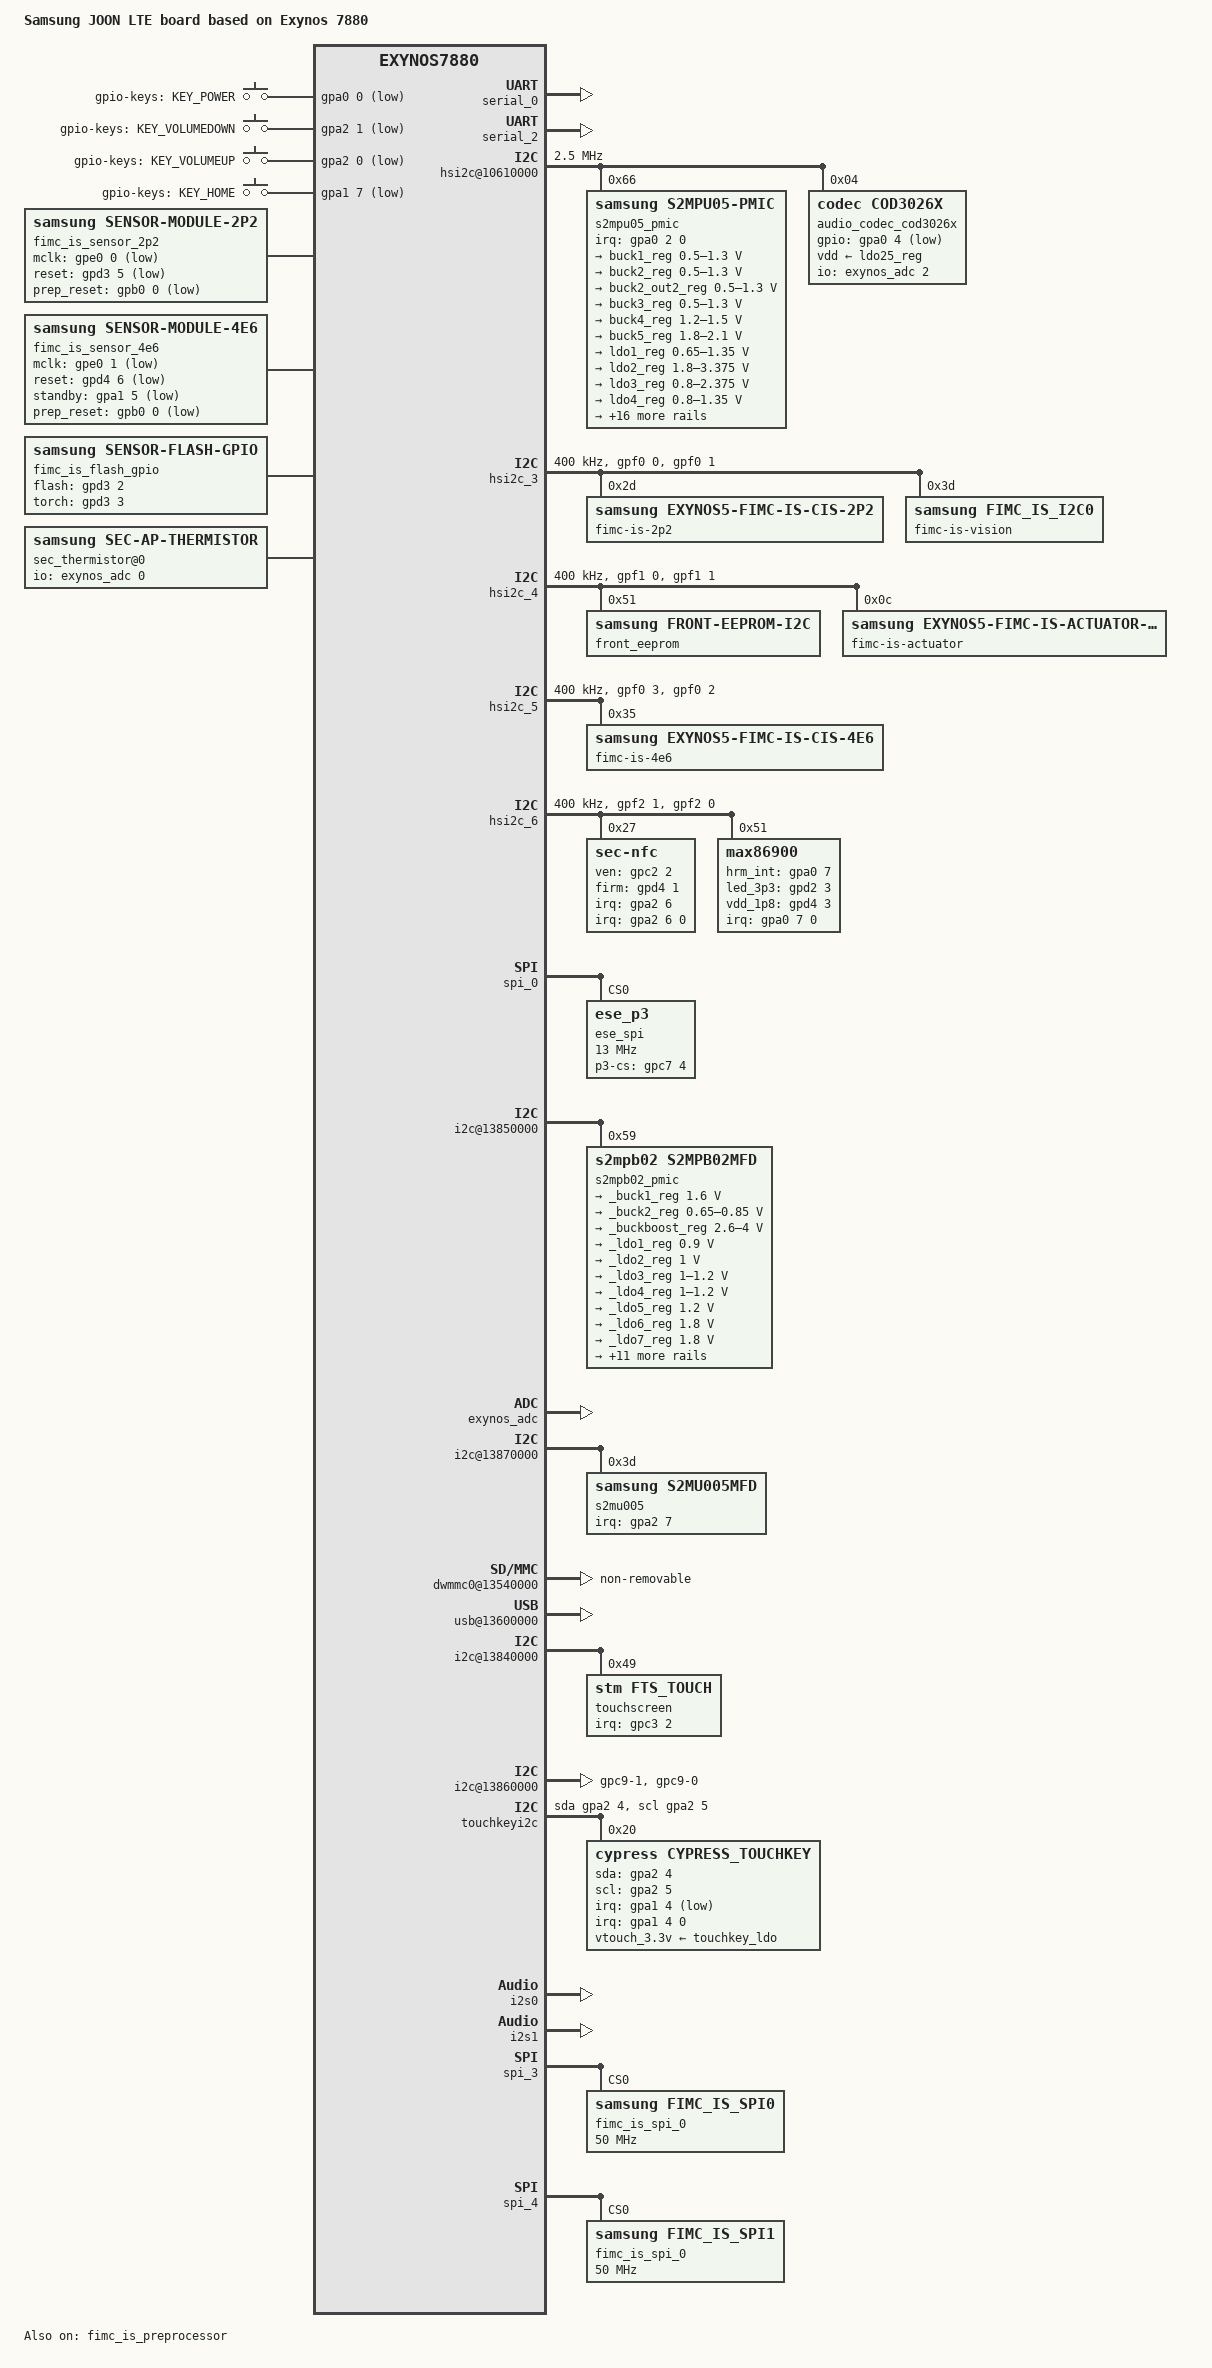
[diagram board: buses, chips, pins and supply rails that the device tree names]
/*
 * SAMSUNG Exynos7880 Universal board device tree source
 *
 * Copyright (c) 2015 Samsung Electronics Co., Ltd.
 *		http://www.samsung.com
 *
 * This program is free software; you can redistribute it and/or modify
 * it under the terms of the GNU General Public License version 2 as
 * published by the Free Software Foundation.
*/

#include "exynos7880.dtsi"
#include "modem-ss325ap-pdata.dtsi"
#include "exynos7880-rmem.dtsi"

/ {
	model = "Samsung JOON LTE board based on Exynos 7880";
	compatible = "samsung,exynos7880", "samsung,universal7880";

	memory@40000000 {
		device_type = "memory";
		reg = <0x0 0x40000000 0x3E400000>;
	};

	memory@80000000 {
		device_type = "memory";
		reg = <0x0 0x80000000 0x80000000>;
	};

	chosen {
		bootargs = "console=ram ess_setup=0x46000000 clk_ignore_unused androidboot.hardware=samsungexynos7880 firmware_class.path=/vendor/firmware reserve-fimc=0 androidboot.debug_level=0x4948 androidboot.selinux=permissive";
		linux,initrd-start = <0x52000000>;
		linux,initrd-end = <0x521FFFFF>;
	};

	fixed-rate-clocks {
		oscclk {
			compatible = "samsung,exynos7880-oscclk";
			clock-frequency = <26000000>;
		};
	};

	serial_0: uart@13810000 {
		status = "okay";
	};

	serial_2: uart@13820000 {
		status = "okay";
	};

	gpio_keys {
		compatible = "gpio-keys";
		pinctrl-names = "default";
		pinctrl-0 = <&key_power &key_voldown &key_volup &key_home>;
		#address-cells = <1>;
		#size-cells = <0>;

		button@1 {
			label = "gpio-keys: KEY_POWER";
			interrupts = <0 0>;
			interrupt-parent = <&gpa0>;
			linux,code = <116>;
			gpios = <&gpa0 0 0xf>;
			gpio-key,wakeup = <1>;
		};
		button@2 {
			label = "gpio-keys: KEY_VOLUMEDOWN";
			interrupts = <1 0>;
			interrupt-parent = <&gpa2>;
			linux,code = <114>;
			gpios = <&gpa2 1 0xf>;
		};
		button@3 {
			label = "gpio-keys: KEY_VOLUMEUP";
			interrupts = <0 0>;
			interrupt-parent = <&gpa2>;
			linux,code = <115>;
			gpios = <&gpa2 0 0xf>;
		};
		button@4 {
			label = "gpio-keys: KEY_HOME";
			interrupts = <7 0 0>;
			interrupt-parent = <&gpa1>;
			linux,code = <172>;
			gpios = <&gpa1 7 0xf>;
			gpio-key,wakeup = <1>;
		};
	};

	pinctrl@139B0000 {
		/* Warm reset information from AP */
		pm_wrsti: pm-wrsti {
			samsung,pins = "gpd1-0";
			samsung,pin-con-pdn = <3>;
		};
	};

	pinctrl@139F0000 {
		pmic_irq: pmic-irq {
			samsung,pins = "gpa0-2";
			samsung,pin-pud = <3>;
			samsung,pin-drv = <3>;
		};

		cod3026_irq: cod3026-irq {
			samsung,pins = "gpa0-4";
			samsung,pin-pud = <3>;
			samsung,pin-drv = <3>;
		};

		hrm_int: hrm_int {
			samsung,pins = "gpa0-7";
			samsung,pin-function = <1>;
			samsung,pin-pud = <0>;
			samsung,pin-val = <0>;
		};

		cfg_wlanhostwake: cfg-wlanhostwake {
			samsung,pins = "gpa2-2";
			samsung,pin-function = <1>;
			samsung,pin-pud = <3>;
		};
	};

	pinctrl@139B0000 {
		sub_pmic_irq: sub-pmic-irq {
			samsung,pins = "gpd4-0";
			samsung,pin-function = <0xf>;
			samsung,pin-pud = <0>;
			samsung,pin-drv = <0>;
		};

		hrm_vdd_io_en: hrm_vdd_io_en {
			samsung,pins = "gpd4-3";
			samsung,pin-function = <1>;
			samsung,pin-pud = <1>;
			samsung,pin-val = <0>;
		};

		hrm_vdd_en: hrm_vdd_en {
			samsung,pins = "gpd2-3";
			samsung,pin-function = <1>;
			samsung,pin-pud = <1>;
			samsung,pin-val = <0>;
		};
	};
	
	but_zones: but_zones {
		#list-but-cells = <3>;
	};

	hsi2c@10610000 {
		status = "okay";
		samsung,hs-mode;
		clock-frequency = <2500000>;
		samsung,hsi2c-batcher;

		s2mpu05_pmic@66 {
			compatible = "samsung,s2mpu05-pmic";
			reg = <0x66>;
			ten-bit-address;
			interrupts = <2 0 0>;
			interrupt-parent = <&gpa0>;
			pinctrl-names = "default";
			pinctrl-0 = <&pmic_irq &pm_wrsti>;
			g3d_en = <1>; /* 1 : enable , 0 : disable */
			buck3en_pin = "etc1-3";
			buck3en_addr = "139B0080.pinctrl";
			/* RTC: wtsr/smpl */
			wtsr_en = <1>; /* enable */
			smpl_en = <1>; /* enable */
			wtsr_timer_val = <3>;   /* 1000ms */
			smpl_timer_val = <4>;   /* 500ms */
			check_jigon = <0>; /* do not check jigon */
			/* RTC: If it's first boot, reset rtc to 1/1/2016 12:00:00(Fri) */
			init_time,sec = <0>;
			init_time,min = <0>;
			init_time,hour = <12>;
			init_time,mday = <1>;
			init_time,mon = <0>;
			init_time,year = <116>;
			init_time,wday = <5>;

			regulators {
				buck1_reg: BUCK1 {
					regulator-name = "BUCK1";
					regulator-min-microvolt = <500000>;
					regulator-max-microvolt = <1300000>;
					regulator-always-on;
					regulator-boot-on;
					regulator-ramp-delay = <12000>;
					regulator-initial-mode = <1>;
					regulator-expected-consumer = <2>;
				};

				buck2_reg: BUCK2 {
					regulator-name = "BUCK2";
					regulator-min-microvolt = <500000>;
					regulator-max-microvolt = <1300000>;
					regulator-always-on;
					regulator-boot-on;
					regulator-ramp-delay = <12000>;
					regulator-initial-mode = <3>;
					regulator-expected-consumer = <4>;
				};

				buck2_out2_reg: BUCK2_OUT2 {
					regulator-name = "BUCK2_OUT2";
					regulator-min-microvolt = <500000>;
					regulator-max-microvolt = <1300000>;
					regulator-always-on;
					regulator-boot-on;
					regulator-ramp-delay = <12000>;
					regulator-initial-mode = <3>;
				};

				buck3_reg: BUCK3 {
					regulator-name = "vdd_g3d";
					regulator-min-microvolt = <500000>;
					regulator-max-microvolt = <1300000>;
					regulator-always-on;
					regulator-boot-on;
					regulator-ramp-delay = <12000>;
					regulator-initial-mode = <2>;		/* MIF_G3D */
				};

				buck4_reg: BUCK4 {
					regulator-name = "BUCK4";
					regulator-min-microvolt = <1200000>;
					regulator-max-microvolt = <1500000>;
					regulator-always-on;
					regulator-boot-on;
					regulator-ramp-delay = <12000>;
					regulator-initial-mode = <3>;
				};

				buck5_reg: BUCK5 {
					regulator-name = "BUCK5";
					regulator-min-microvolt = <1800000>;
					regulator-max-microvolt = <2100000>;
					regulator-always-on;
					regulator-boot-on;
					regulator-ramp-delay = <12000>;
					regulator-initial-mode = <3>;
				};

				ldo1_reg: LDO1 {
					regulator-name = "vdd_ldo1";
					regulator-min-microvolt = <650000>;
					regulator-max-microvolt = <1350000>;
					regulator-always-on;
					regulator-boot-on;
					regulator-ramp-delay = <12000>;
					regulator-initial-mode = <3>;
				};

				ldo2_reg: LDO2 {
					regulator-name = "vqmmc";
					regulator-min-microvolt = <1800000>;
					regulator-max-microvolt = <3375000>;
					regulator-boot-on;
					regulator-always-on;
					regulator-ramp-delay = <12000>;
					regulator-initial-mode = <1>;
				};

				ldo3_reg: LDO3 {
					regulator-name = "vdd_ldo3";
					regulator-min-microvolt = <800000>;
					regulator-max-microvolt = <2375000>;
					regulator-boot-on;
					regulator-always-on;
					regulator-ramp-delay = <12000>;
					regulator-initial-mode = <3>;
				};

				ldo4_reg: LDO4 {
					regulator-name = "vdd_ldo4";
					regulator-min-microvolt = <800000>;
					regulator-max-microvolt = <1350000>;
					regulator-boot-on;
					regulator-always-on;
					regulator-ramp-delay = <12000>;
					regulator-initial-mode = <2>;
				};

				ldo5_reg: LDO5 {
					regulator-name = "vdd_ldo5";
					regulator-min-microvolt = <800000>;
					regulator-max-microvolt = <1350000>;
					regulator-boot-on;
					regulator-always-on;
					regulator-ramp-delay = <12000>;
					regulator-initial-mode = <3>;
				};

				ldo6_reg: LDO6 {
					regulator-name = "vdd_ldo6";
					regulator-min-microvolt = <800000>;
					regulator-max-microvolt = <1350000>;
					regulator-boot-on;
					regulator-always-on;
					regulator-ramp-delay = <12000>;
					regulator-initial-mode = <2>;
				};

				ldo7_reg: LDO7 {
					regulator-name = "vdd_ldo7";
					regulator-min-microvolt = <800000>;
					regulator-max-microvolt = <2375000>;
					regulator-ramp-delay = <12000>;
					regulator-initial-mode = <1>;
				};

				ldo8_reg: LDO8 {
					regulator-name = "vdd_ldo8";
					regulator-min-microvolt = <1800000>;
					regulator-max-microvolt = <3375000>;
					regulator-boot-on;
					regulator-always-on;
					regulator-ramp-delay = <12000>;
					regulator-initial-mode = <1>;
				};

				ldo9_reg: LDO9 {
					regulator-name = "vdd_ldo9";
					regulator-min-microvolt = <650000>;
					regulator-max-microvolt = <1350000>;
					regulator-always-on;
					regulator-ramp-delay = <12000>;
					regulator-initial-mode = <3>;
				};

				ldo10_reg: LDO10 {
					regulator-name = "vdd_ldo10";
					regulator-min-microvolt = <650000>;
					regulator-max-microvolt = <1350000>;
					regulator-always-on;
					regulator-ramp-delay = <12000>;
					/* LDO10 mode 0 value means
					control to PWRRGTON_G3D signal */
					regulator-initial-mode = <0>;
				};

				ldo25_reg: LDO25 {
					regulator-name = "vdd_ldo25";
					regulator-min-microvolt = <800000>;
					regulator-max-microvolt = <2375000>;
					regulator-always-on;
					regulator-boot-on;
					regulator-ramp-delay = <12000>;
					regulator-initial-mode = <1>;
				};

				ldo26_reg: LDO26 {
					regulator-name = "vdd_ldo26";
					regulator-min-microvolt = <1800000>;
					regulator-max-microvolt = <3375000>;
					regulator-ramp-delay = <12000>;
					regulator-always-on;
					regulator-initial-mode = <1>;
				};

				ldo27_reg: LDO27 {
					regulator-name = "vdd_ldo27";
					regulator-min-microvolt = <800000>;
					regulator-max-microvolt = <2375000>;
					regulator-ramp-delay = <12000>;
					regulator-always-on;
					regulator-initial-mode = <1>;
				};

				ldo28_reg: LDO28 {
					regulator-name = "vmmc";
					regulator-min-microvolt = <1800000>;
					regulator-max-microvolt = <3375000>;
					regulator-always-on;
					regulator-ramp-delay = <12000>;
					regulator-initial-mode = <1>;
				};

				ldo29_reg: LDO29 {
					regulator-name = "vdd_ldo29";
					regulator-min-microvolt = <1800000>;
					regulator-max-microvolt = <3375000>;
					regulator-ramp-delay = <12000>;
					regulator-initial-mode = <1>;
				};

				ldo30_reg: LDO30 {
					regulator-name = "tsp_io";
					regulator-min-microvolt = <1800000>;
					regulator-max-microvolt = <2375000>;
					regulator-ramp-delay = <12000>;
					regulator-initial-mode = <3>;
				};

				ldo31_reg: LDO31 {
					regulator-name = "vdd_ldo31";
					regulator-min-microvolt = <2800000>;
					regulator-max-microvolt = <2800000>;
					regulator-boot-on;
					regulator-always-on;
					regulator-ramp-delay = <12000>;
					regulator-initial-mode = <1>;
				};

				ldo32_reg: LDO32 {
					regulator-name = "vdd_ldo32";
					regulator-min-microvolt = <1800000>;
					regulator-max-microvolt = <3375000>;
					regulator-ramp-delay = <12000>;
					regulator-initial-mode = <1>;
				};

				ldo33_reg: LDO33 {
					regulator-name = "vdd_ldo33";
					regulator-min-microvolt = <1800000>;
					regulator-max-microvolt = <1800000>;
					regulator-ramp-delay = <12000>;
					regulator-initial-mode = <1>;
				};

				ldo35_reg: LDO35 {
					regulator-name = "VDD_MOTOR_3P0";
					regulator-min-microvolt = <1800000>;
					regulator-max-microvolt = <3375000>;
					regulator-ramp-delay = <12000>;
					regulator-initial-mode = <1>;
				};
			};
		};

		audio_codec_cod3026x: cod3026x@04 {
			compatible = "codec,cod3026x";
			reg = <0x04>;
			ten-bit-address;
			vdd-supply = <&ldo25_reg>;
			pinctrl-names = "default";
			pinctrl-0 = <&cod3026_irq>;
			interrupt-parent = <&gpa0>;
			gpios = <&gpa0 4 0xf>;
			use-digital-mic-mode;
			mic-bias1-voltage = <1>;
			mic-bias2-voltage = <1>;
			mic-bias-ldo-voltage = <3>;
			use-det-adc-mode;
			io-channels = <&exynos_adc 2>;
			io-channel-names = "adc-jack";
			#io-channel-cells = <1>;
			io-channel-ranges;
			but-zones-list = <&but_zones 226 0 203>, /* send/end */
				<&but_zones 582 204 290>, /* google */
				<&but_zones 115 291 488>, /* vol up */
				<&but_zones 114 489 1000>; /* vol down */
			mic-adc-range = <1350>;
		};
	};

	hsi2c_3: hsi2c@138A0000 {
		 gpios = <&gpf0 0 0 &gpf0 1 0>;
		 status = "okay";
		 clock-frequency = <400000>;

		 pinctrl-names = "default";
		 pinctrl-0 = <&hs_i2c3_bus>;

		 fimc-is-2p2@5A {
			 compatible = "samsung,exynos5-fimc-is-cis-2p2";
			 reg = <0x2D>;
			 id = <0>; /* matching sensor id */
			 setfile = "setB";
		 };

		 fimc-is-vision@3d {
			compatible = "samsung,fimc_is_i2c0";
			reg = <0x3d>;
		 };
	 };

	hsi2c_4: hsi2c@138B0000 {
		 gpios = <&gpf1 0 0 &gpf1 1 0>;
		 status = "okay";
		 clock-frequency = <400000>;

		 pinctrl-names = "default";
		 pinctrl-0 = <&hs_i2c4_bus>;

		 front_eeprom@51 {
			 compatible = "samsung,front-eeprom-i2c";
			 reg = <0x51>;
		 };

		 fimc-is-actuator@18 {
			 compatible = "samsung,exynos5-fimc-is-actuator-ak7371";
			 reg = <0x0C>;
			 id = <0>; /* matching sensor id */
		 };
	};

	hsi2c_5: hsi2c@138C0000 {
		 gpios = <&gpf0 3 0 &gpf0 2 0>;
		 status = "okay";
		 clock-frequency = <400000>;

		 pinctrl-names = "default";
		 pinctrl-0 = <&hs_i2c5_bus>;

		 fimc-is-4e6@6A {
			 compatible = "samsung,exynos5-fimc-is-cis-4e6";
			 reg = <0x35>;
			 id = <0>; /* matching sensor id */
			 setfile = "setB";
		 };
	 };

	hsi2c_6: hsi2c@138F0000 {
		gpios = <&gpf2 1 0 &gpf2 0 0>;
		status = "okay";
		clock-frequency = <400000>;
		sec-nfc@27 {
			compatible = "sec-nfc";
			reg = <0x27>;
			interrupts = <6 0 0>;
			interrupt-parent = <&gpa2>;

			sec-nfc,ven-gpio = <&gpc2 2 0>;
			sec-nfc,firm-gpio = <&gpd4 1 0>;
			sec-nfc,irq-gpio = <&gpa2 6 0>;

			pinctrl-names = "default";
			pinctrl-0 = <&nfc_firm &nfc_pd &nfc_int>;
		};

		max86900@51 {
			compatible = "max86900";
			reg = <0x51>;
			interrupt-parent = <&gpa0>;
			interrupts = <7 0 0>;
			pinctrl-names = "default";
			pinctrl-0 = <&hrm_vdd_en &hrm_int &hrm_vdd_io_en>;
			max86900,hrm_int-gpio = <&gpa0 7 0>;
			max86900,led_3p3-gpio = <&gpd2 3 0>;
			max86900,vdd_1p8-gpio = <&gpd4 3 0>;
		};
	};

	spi_0: spi@13920000 {
		status = "okay";
		/delete-property/ pinctrl-names;
		/delete-property/ pinctrl-0;

		ese_spi@0 {
			compatible = "ese_p3";
			reg = <0>;
			spi-max-frequency = <13000000>;

			gpio-controller;
			#gpio-cells = <2>;

			p3-mosipin = <&gpc6 3 0>;
			p3-misopin = <&gpc6 2 0>;
			p3-clkpin = <&gpc6 0 0>;
			p3-cs_gpio = <&gpc7 4 0>;
			p3-vdd_1p8 = "vdd_ldo33";
			p3-ap_vendor = "slsi";

			clocks = <&clock 191>, <&clock 633>;
			clock-names = "pclk", "sclk";

			pinctrl-names = "ese_active", "ese_suspend";
			pinctrl-0 = <&spi0_bus &ese_cs_func>;
			pinctrl-1 = <&spi0_bus_suspend &ese_cs_func_suspend>;

			controller-data {
				cs-gpio = <&gpc7 4 0>;
				samsung,spi-feedback-delay = <0>;
				samsung,spi-chip-select-mode = <0>; /* MANUAL_CS_MODE  */
			};
		};
	};

	i2c@13850000 {
		status = "okay";
		s2mpb02_pmic@59 {
			compatible = "s2mpb02,s2mpb02mfd";
			reg = <0x59>;

			s2mpb02,wakeup;
			pinctrl-names = "default";
			pinctrl-0 = <&sub_pmic_irq>;

			regulators {
				_buck1_reg: s2mpb02-buck1 {
					regulator-min-microvolt = <1600000>;
					regulator-max-microvolt = <1600000>;
					regulator-always-on;
					regulator-boot-on;
				};

				_buck2_reg: s2mpb02-buck2 {
					regulator-name = "VDDD_CORE_0.8V_COMP";
					regulator-min-microvolt = <650000>;
					regulator-max-microvolt = <850000>;
				};

				_buckboost_reg: s2mpb02-bb {
					regulator-min-microvolt = <2600000>;
					regulator-max-microvolt = <4000000>;
					regulator-always-on;
					regulator-boot-on;
				};

				_ldo1_reg: s2mpb02-ldo1 {
					regulator-name = "VDDD_NORET_0.9V_COMP";
					regulator-min-microvolt = <900000>;
					regulator-max-microvolt = <900000>;
				};

				_ldo2_reg: s2mpb02-ldo2 {
					regulator-name = "VDDD_CORE_1.0V_COMP";
					regulator-min-microvolt = <1000000>;
					regulator-max-microvolt = <1000000>;
				};

				_ldo3_reg: s2mpb02-ldo3 {
					regulator-name = "VDDD_1.2V_CAM";
					regulator-min-microvolt = <1000000>;
					regulator-max-microvolt = <1200000>;
				};

				_ldo4_reg: s2mpb02-ldo4 {
					regulator-name = "VDDD_RET_1.0V_COMP";
					regulator-min-microvolt = <1000000>;
					regulator-max-microvolt = <1200000>;
				};

				_ldo5_reg: s2mpb02-ldo5 {
					regulator-name = "VDDD_1.2V_VT";
					regulator-min-microvolt = <1200000>;
					regulator-max-microvolt = <1200000>;
				};

				_ldo6_reg: s2mpb02-ldo6 {
					regulator-name = "VDDIO_1.8V_VT";
					regulator-min-microvolt = <1800000>;
					regulator-max-microvolt = <1800000>;
				};

				_ldo7_reg: s2mpb02-ldo7 {
					regulator-name = "VDDIO_1.8V_CAM";
					regulator-min-microvolt = <1800000>;
					regulator-max-microvolt = <1800000>;
				};

				_ldo8_reg: s2mpb02-ldo8 {
					regulator-name = "VDDIO_1.8V_COMP";
					regulator-min-microvolt = <1800000>;
					regulator-max-microvolt = <1800000>;
				};

				_ldo9_reg: s2mpb02-ldo9 {
					regulator-name = "VDDA_1.8V_COMP";
					regulator-min-microvolt = <1800000>;
					regulator-max-microvolt = <1800000>;
				};

				_ldo10_reg: s2mpb02-ldo10 {
					regulator-name = "LCD_1P8";
					regulator-min-microvolt = <1800000>;
					regulator-max-microvolt = <1800000>;
					regulator-boot-on;
				};

				_ldo11_reg: s2mpb02-ldo11 {
					regulator-name = "VDDA_2.9V_CAM";
					regulator-min-microvolt = <2800000>;
					regulator-max-microvolt = <2950000>;
				};

				_ldo12_reg: s2mpb02-ldo12 {
					regulator-name = "VDDAF_2.8V_CAM";
					regulator-min-microvolt = <2800000>;
					regulator-max-microvolt = <2800000>;
				};

				_ldo13_reg: s2mpb02-ldo13 {
					regulator-name = "VDDA_2.9V_VT";
					regulator-min-microvolt = <2900000>;
					regulator-max-microvolt = <2900000>;
				};

				_ldo14_reg: s2mpb02-ldo14 {
					regulator-name = "OIS_VM_2.8V";
					regulator-min-microvolt = <2800000>;
					regulator-max-microvolt = <2800000>;
				};

				_ldo15_reg: s2mpb02-ldo15 {
					regulator-name = "OIS_VDD_2.8V";
					regulator-min-microvolt = <2800000>;
					regulator-max-microvolt = <2800000>;
				};

				_ldo16_reg: s2mpb02-ldo16 {
					regulator-name = "LCD_3P0";
					regulator-min-microvolt = <3000000>;
					regulator-max-microvolt = <3000000>;
					regulator-boot-on;
				};

				_ldo17_reg: s2mpb02-ldo17 {
					regulator-min-microvolt = <600000>;
					regulator-max-microvolt = <3775000>;
				};

				_ldo18_reg: s2mpb02-ldo18 {
					regulator-min-microvolt = <600000>;
					regulator-max-microvolt = <3775000>;
					regulator-always-on;
					regulator-boot-on;
				};
			};

			torch {
				torch1-gpio = "gpc0-3";
				flash1-gpio = "gpc0-2";

				status = "okay";

				leds1 {
					ledname = "leds-sec1";
					id = <0>;
					brightness = <0xC>;
					timeout = <0x3>;
				};

				leds2 {
					ledname = "torch-sec1";
					id = <1>;
					brightness = <0xC>;
					timeout = <0xF>;
				};
			};
		};
	};

	pinctrl@139B0000 {
		if_pmic_rstb: if-pmic-rstb {
			samsung,pins = "gpd2-1";
			samsung,pin-function = <1>;
			samsung,pin-pud = <3>;
			samsung,pin-val = <1>;
			samsung,pin-con-pdn = <3>;
			samsung,pin-pud-pdn = <3>;
		};
	};

	exynos_adc: adc@10650000 {
		status = "okay";
	};

	i2c@13870000 {
		status = "okay";
		s2mu005@3d {
			compatible = "samsung,s2mu005mfd";
			reg = <0x3d>;
			pinctrl-names = "default";
			pinctrl-0 = <&if_irq &if_pmic_rstb>;
			s2mu005,irq-gpio = <&gpa2 7 0>;
			s2mu005,wakeup;

			leds {
				flash-gpio = <&gpc0 2 0>;
				torch-gpio = <&gpc0 3 0>;

				flash_current = <1000>;
				preflash_current = <175>;
				movie_current = <175>;
				torch_current = <75>;
				factory_current = <250>;

				status = "okay";
				s2mu005-leds1 {
					ledname = "leds-sec1";
					id = <0>;
					timeout = <15>;
				};

				s2mu005-leds2 {
					ledname = "leds-sec2";
					id = <1>;
					timeout = <15>;
				};
			};

			muic {
				status = "okay";
				muic,uart_addr = "139c0000.pinctrl";
				muic,uart_rxd = "gpb1-0";
				muic,uart_txd = "gpb1-1";
			};
		};
	};

	pinctrl@139F0000 {
		key_power: key-power {
			samsung,pins = "gpa0-0";
			samsung,pin-function = <0xf>;
			samsung,pin-pud = <0>;
			samsung,pin-drv = <0>;
		};

		key_voldown: key-voldown {
			samsung,pins = "gpa2-1";
			samsung,pin-function = <0xf>;
			samsung,pin-pud = <0>;
			samsung,pin-drv = <0>;
		};

		key_volup: key-volup {
			samsung,pins = "gpa2-0";
			samsung,pin-function = <0xf>;
			samsung,pin-pud = <0>;
			samsung,pin-drv = <0>;
		};

		key_home: key-home {
			samsung,pins = "gpa1-7";
			samsung,pin-function = <0xf>;
			samsung,pin-pud = <0>;
			samsung,pin-drv = <0>;
		};

		if_irq: if-irq {
			samsung,pins = "gpa2-7";
			samsung,pin-pud = <0>;
			samsung,pin-drv = <0>;
		};
	};

	dwmmc0@13540000 {
		status = "okay";
		num-slots = <1>;
		broken-card-detect;
		use-smu;
		fixed_voltage;
		supports-highspeed;
		/*clock-gate;*/
		mmc-ddr-1_8v;
		mmc-hs200-1_8v;
		mmc-hs400-1_8v;
		supports-8bit;
		supports-cmd23;
		supports-erase;
		enable-ulp-mode;
		supports-hs400-enhanced-strobe;
		card-init-hwacg-ctrl;
		fifo-depth = <0x40>;
		non-removable;
		desc-size = <4>;
		card-detect-delay = <200>;
		data-timeout = <200>;
		clock-frequency = <800000000>;
		qos_int_level = <534000>;
		samsung,dw-mshc-ciu-div = <3>;
		samsung,dw-mshc-txdt-crc-timer-fastlimit = <0x34>;
		samsung,dw-mshc-txdt-crc-timer-initval = <0x38>;
		samsung,dw-mshc-ddr200-delay-line = <0x60>;
		samsung,dw-mshc-sdr-timing = <3 0 2 0>;
		samsung,dw-mshc-ddr-timing = <3 0 4 2>;
		samsung,dw-mshc-hs200-timing = <3 0 3 0>;
		samsung,dw-mshc-ddr200-timing = <1 0 2 0>;
		samsung,dw-mshc-ddr200-ulp-timing = <3 0 3 0>;
		num-ref-clks = <10>;
		ciu_clkin = <25 50 50 100 200 100 50 200 200 200>;

		/* Swapping clock drive strength */
                clk-drive-number = <6>;
                pinctrl-names = "default",
                        "fast-slew-rate-1x",
                        "fast-slew-rate-2x",
                        "fast-slew-rate-3x",
                        "fast-slew-rate-4x",
                        "fast-slew-rate-5x",
                        "fast-slew-rate-6x";
                pinctrl-0 = <&sd0_clk &sd0_cmd &sd0_rdqs &sd0_bus1 &sd0_bus4 &sd0_bus8>;
                pinctrl-1 = <&sd0_clk_fast_slew_rate_1x>;
                pinctrl-2 = <&sd0_clk_fast_slew_rate_2x>;
                pinctrl-3 = <&sd0_clk_fast_slew_rate_3x>;
                pinctrl-4 = <&sd0_clk_fast_slew_rate_4x>;
                pinctrl-5 = <&sd0_clk_fast_slew_rate_5x>;
                pinctrl-6 = <&sd0_clk_fast_slew_rate_6x>;

		slot@0 {
			reg = <0>;
			bus-width = <8>;
		};
	};

	decon_f@0x14830000 {
		gpios = <&gpd2 2 0xf>; /* DISP_TE */
		te_eint {
			/* NWEINT_GPD2_PEND(GPD2_2), NWEINT_GPD2_MASK(GPD2_2) */
			reg = <0x0 0x139B0A24 0x4>, <0x0 0x139B0924 0x4>;
		};
	};

	dsim_0: dsim@0x14800000 {
		lcd_info = <&s6e3ha2>;
		decon_board = <&decon_board_list>;
	};

	dsim_1: dsim@0x14810000 {
		lcd_info = <&s6e3ha2>;
	};

	decon_board_list: decon_board_list {
		dsim_set_panel_power_enable {
			type = "regulator,enable", "gpio,high", "regulator,enable";
			regulator = "LCD_1P8","LCD_3P0";
			gpios = <&gpd1 1 0x1>;
		};
		dsim_set_panel_power_disable {
			type = "gpio,low", "regulator,disable", "gpio,low", "regulator,disable";
			regulator = "LCD_1P8","LCD_3P0";
			gpios = <&gpd3 4 0x1>, <&gpd1 1 0x1>;
		};
		dsim_reset_panel {
			type = "gpio,high", "delay,usleep", "gpio,low", "delay,usleep", "gpio,high", "delay,usleep";
			gpios = <&gpd3 4 0x1>, <&gpd3 4 0x1>, <&gpd3 4 0x1>;
			delay = <5000 6000>, <5000 6000>, <10000 11000>;
		};
	};

	s6e3ha2: s6e3ha2_wqhd {
		mode = <2>;	/* 2: MIPI command mode */
		resolution = <720 2560>;
		size = <70 121>;
		timing,refresh = <60>;
		timing,h-porch = <2 2 2>;
		timing,v-porch = <15 3 1>;
		timing,dsi-hs-clk = <1100>;
		timing,pms = <3 127 0>;
		timing,dsi-escape-clk = <20>;
		mic_en = <0>;		/* 0: Disable, 1: Enable */
		mic_ratio = <0>;	/* 0: 1/2 mic, 1: 1/3 mic */
		mic_ver = <2>;		/* 0: mic v1.1, 1: v1.2, 2: v2.0 */
		type_of_ddi = <0>;	/* 0: Samsung Mobile */
		dsc_en = <0>;		/* 0: Disable, 1: Enable */
		dsc_cnt = <1>;		/* used DSC count */
		dsc_slice_num = <2>;	/* count of dsc slice */
	};

	tmuctrl_0: tmuctrl_CPUCL0@10130000 {
		status = "okay";
		max_trigger_level = <8>;
		non_hw_trigger_levels = <7>;

		/* Throttling Level */
		trigger_levels_0 = <76>;
		trigger_levels_1 = <81>;
		trigger_levels_2 = <86>;
		trigger_levels_3 = <91>;
		trigger_levels_4 = <96>;
		trigger_levels_5 = <101>;
		trigger_levels_6 = <111>;
		trigger_levels_7 = <115>;

		trigger_enable_0 = <ENABLE>;
		trigger_enable_1 = <ENABLE>;
		trigger_enable_2 = <ENABLE>;
		trigger_enable_3 = <ENABLE>;
		trigger_enable_4 = <ENABLE>;
		trigger_enable_5 = <ENABLE>;
		trigger_enable_6 = <ENABLE>;
		trigger_enable_7 = <ENABLE>;

		trigger_type_0 = <THROTTLE_ACTIVE>;
		trigger_type_1 = <THROTTLE_ACTIVE>;
		trigger_type_2 = <THROTTLE_ACTIVE>;
		trigger_type_3 = <THROTTLE_ACTIVE>;
		trigger_type_4 = <THROTTLE_ACTIVE>;
		trigger_type_5 = <THROTTLE_ACTIVE>;
		trigger_type_6 = <THROTTLE_ACTIVE>;
		trigger_type_7 = <HW_TRIP>;

		freq_tab_count = <5>;

		freq_clip_max_0 = <1586000>;
		freq_clip_max_1 = <1242000>;
		freq_clip_max_2 = <1242000>;
		freq_clip_max_3 = <757000>;
		freq_clip_max_4 = <449000>;

		cooling_level_0 = <76>;
		cooling_level_1 = <81>;
		cooling_level_2 = <86>;
		cooling_level_3 = <91>;
		cooling_level_4 = <96>;
	};

	tmuctrl_1: tmuctrl_CPUCL1@10130000 {
		status = "okay";
		max_trigger_level = <8>;
		non_hw_trigger_levels = <7>;

		/* Throttling Level */
		trigger_levels_0 = <76>;
		trigger_levels_1 = <81>;
		trigger_levels_2 = <86>;
		trigger_levels_3 = <91>;
		trigger_levels_4 = <96>;
		trigger_levels_5 = <101>;
		trigger_levels_6 = <111>;
		trigger_levels_7 = <115>;

		trigger_enable_0 = <ENABLE>;
		trigger_enable_1 = <ENABLE>;
		trigger_enable_2 = <ENABLE>;
		trigger_enable_3 = <ENABLE>;
		trigger_enable_4 = <ENABLE>;
		trigger_enable_5 = <ENABLE>;
		trigger_enable_6 = <ENABLE>;
		trigger_enable_7 = <ENABLE>;

		trigger_type_0 = <THROTTLE_ACTIVE>;
		trigger_type_1 = <THROTTLE_ACTIVE>;
		trigger_type_2 = <THROTTLE_ACTIVE>;
		trigger_type_3 = <THROTTLE_ACTIVE>;
		trigger_type_4 = <THROTTLE_ACTIVE>;
		trigger_type_5 = <THROTTLE_ACTIVE>;
		trigger_type_6 = <THROTTLE_ACTIVE>;
		trigger_type_7 = <HW_TRIP>;

		freq_tab_count = <5>;

		freq_clip_max_0 = <1586000>;
		freq_clip_max_1 = <1242000>;
		freq_clip_max_2 = <1242000>;
		freq_clip_max_3 = <757000>;
		freq_clip_max_4 = <449000>;

		cooling_level_0 = <76>;
		cooling_level_1 = <81>;
		cooling_level_2 = <86>;
		cooling_level_3 = <91>;
		cooling_level_4 = <96>;
	};

	tmuctrl_2: tmuctrl_G3D@10130000 {
		status = "okay";
		max_trigger_level = <8>;
		non_hw_trigger_levels = <7>;

		/* Throttling Level */
		trigger_levels_0 = <76>;
		trigger_levels_1 = <81>;
		trigger_levels_2 = <86>;
		trigger_levels_3 = <91>;
		trigger_levels_4 = <96>;
		trigger_levels_5 = <101>;
		trigger_levels_6 = <111>;
		trigger_levels_7 = <115>;

		trigger_enable_0 = <ENABLE>;
		trigger_enable_1 = <ENABLE>;
		trigger_enable_2 = <ENABLE>;
		trigger_enable_3 = <ENABLE>;
		trigger_enable_4 = <ENABLE>;
		trigger_enable_5 = <ENABLE>;
		trigger_enable_6 = <ENABLE>;
		trigger_enable_7 = <ENABLE>;

		trigger_type_0 = <THROTTLE_ACTIVE>;
		trigger_type_1 = <THROTTLE_ACTIVE>;
		trigger_type_2 = <THROTTLE_ACTIVE>;
		trigger_type_3 = <THROTTLE_ACTIVE>;
		trigger_type_4 = <THROTTLE_ACTIVE>;
		trigger_type_5 = <THROTTLE_ACTIVE>;
		trigger_type_6 = <THROTTLE_ACTIVE>;
		trigger_type_7 = <HW_TRIP>;

		freq_tab_count = <6>;

		freq_clip_max_0 = <1246000>;
		freq_clip_max_1 = <1100000>;
		freq_clip_max_2 = <962000>;
		freq_clip_max_3 = <728000>;
		freq_clip_max_4 = <350000>;
		freq_clip_max_5 = <350000>;

		cooling_level_0 = <76>;
		cooling_level_1 = <81>;
		cooling_level_2 = <86>;
		cooling_level_3 = <91>;
		cooling_level_4 = <96>;
		cooling_level_5 = <101>;

		/* gpu cooling related table */
		gpu_idx_num = <6>;
	};

	usb@13600000 {
		vdd33-supply = <&ldo8_reg>;
		vdd10-supply = <&ldo1_reg>;
		dwc3-vbus-supply = <&ldo3_reg>;
		status = "okay";

		dwc3 {
			maximum-speed = "high-speed";
			dr_mode = "otg";
			is_not_vbus_pad;
		};
	};

	usbphy@135c0000 {
		status = "okay";
	};

	usb_notifier {
		compatible = "samsung,usb-notifier";
		udc = <&udc>;
	};

	pinctrl@139B0000 {
		fimc_is_flash_host: fimc-is-flash-host {
			samsung,pins = "gpd3-2", "gpd3-3";
			samsung,pin-function = <1>;
			samsung,pin-pud = <1>;
			samsung,pin-drv = <0>;
		};
		spk_amp_i2c: spk-amp-i2c {
			samsung,pins = "gpc9-1", "gpc9-0";
			samsung,pin-function = <2>;
			samsung,pin-pud = <0>;
			samsung,pin-drv = <0>;
		};
	};

	pinctrl@139D0000 {
		attn_irq: attn-irq {
			samsung,pins = "gpc3-2";
			samsung,pin-function = <0xf>;
			samsung,pin-pud = <0>;
			samsung,pin-drv = <0>;
		};
		attn_input: attn-input {
			samsung,pins = "gpc3-2";
			samsung,pin-function = <0>;
			samsung,pin-pud = <0>;
			samsung,pin-drv = <0>;
		};
	};

	i2c@13840000 {
		status = "okay";
		samsung,i2c-max-bus-freq = <400000>;
		touchscreen@49 {
			compatible = "stm,fts_touch";
			reg = <0x49>;
			pinctrl-names = "on_state", "off_state";
			pinctrl-0 = <&attn_irq>;
			pinctrl-1 = <&attn_input>;
			stm,irq_gpio = <&gpc3 2 0>;
			stm,irq_type = <8200>;
			stm,max_coords = <1439 2559>;	/* x y */
			stm,regulator_dvdd = "vdd_ldo32";
			stm,regulator_avdd = "vdd_ldo34";
			stm,project_name = "joon", "smdk7880";
			stm,firmware_name = "tsp_stm/stm_v5583.fw";
		};
	};

	i2c@13860000 {
		status = "okay";
		samsung,i2c-max-bus-freq = <400000>;
		samsung,i2c-bus-num = <20>;
		pinctrl-names = "default";
		pinctrl-0 = <&spk_amp_i2c>;
	};

	pinctrl@139C0000 {
		nfc_en: gpio-en {
			samsung,pins = "gpc2-2";
			samsung,pin-function = <0x1>;
			samsung,pin-pud = <0>;
			samsung,pin-drv = <0>;
			samsung,pin-con-pdn = <3>;
			samsung,pin-val = <1>;
		};
	};

	touchkeyi2c {
		status = "okay";
		compatible = "i2c-gpio";
		pinctrl-names = "on_i2c", "off_i2c";
		pinctrl-0 = <&cfg_gpio>;
		pinctrl-1 = <&cfg_gpio>;

		gpios = <&gpa2 4 0 /* sda */ &gpa2 5 0 /* scl */>;
		i2c-gpio,delay-us = <3>;
		i2c-gpio,timeout-mt = <100>;

		#address-cells = <1>;
		#size-cells = <0>;

		cypress@20 {
			status = "okay";
			compatible = "cypress,cypress_touchkey";
			pinctrl-names = "on_irq", "off_irq", "sub_det";
			pinctrl-0 = <&cfg_irq>;
			pinctrl-1 = <&cfg_input>;
			pinctrl-2 = <&sub_det>;
			reg = <0x20>;
			interrupts = <4 0 0>;
			interrupt-parent = <&gpa1>;
			cypress,sda-gpio = <&gpa2 4 0>;
			cypress,scl-gpio = <&gpa2 5 0>;
			cypress,irq-gpio = <&gpa1 4 1>;
			cypress,sub-det = <&gpa3 0 0>;
			cypress,ic-stabilizing-time = <150>;
			cypress,i2c-gpio = "true";
			cypress,ap-io-power = "true";
			cypress,fw_path = "cypress/cypress_zerof.fw";
			vtouch_3.3v-supply = <&touchkey_ldo>;
		};
	};

	/* modem_interface */
	mif_pdata {
		reg = <0 0x10000 0x14>;
		/* Set NFC_PD to enable USIM */
		pinctrl-names = "default";
		pinctrl-0 = <&ds_det>;

		/* To do: will be remove, for system revision */
		gpios = <&gpd2 4 0x0>,
		       <&gpd2 5 0x0>,
       		       <&gpd3 0 0x0>,
       		       <&gpd3 1 0x0>;

		mif,gpio_ds_det = <&gpd1 2 0x0>;
	};
	pinctrl@139B0000 {
		ds_det: ds_det {
			samsung,pins = "gpd1-2";
			samsung,pin-function = <0>; /* INPUT */
			samsung,pin-pud = <0>;
			samsung,pin-con-pdn = <3>; /* PREV STATE */
			samsung,pin-val = <0>;
		};
	};

	s1402x: s1402x@14880000 {
		pinctrl-names = "default", "idle", "bt", "bt-idle", "fm", "fm-idle";
		pinctrl-0 = <&i2s_pmic_bus
				&i2s_amp_bus>;
		pinctrl-1 = <&i2s_pmic_bus_idle
				&i2s_amp_bus_idle>;
		pinctrl-2 = <&i2s_bt_bus>;
		pinctrl-3 = <&i2s_bt_bus_idle>;
		pinctrl-4 = <&i2s_fm_bus>;
		pinctrl-5 = <&i2s_fm_bus_idle>;
		status = "okay";
	};

	i2s0: i2s@148A0000 {
		status = "okay";
	};

	i2s1: i2s@148B0000 {
		status = "okay";
	};

	audio_cp_dummy: cp_dummy {
		compatible = "samsung,cp_dummy";
		status = "okay";
	};

	audio_fm_dummy: fm_dummy {
		compatible = "samsung,fm_dummy";
		status = "okay";
	};

	audio_bt_dummy: bt_dummy {
		compatible = "samsung,bt_dummy";
		status = "okay";
	};

	audio_codec_dummy: dummy-codec {
		compatible = "samsung,dummy-codec";
		status = "okay";
	};

	sound {
		compatible = "samsung,universal7880-cod3026x";
		samsung,audio-cpu = <&i2s0 /* primary */
			&i2s0              /* secondary */
			&audio_cp_dummy
			&audio_bt_dummy
			&audio_fm_dummy
			&i2s1              /*AMP for AP */
			&audio_cp_dummy    /*AMP for CP */
			&eax
			&eax
			&eax
			&eax>;
		samsung,audio-codec = <&audio_codec_cod3026x
			&audio_codec_cod3026x
			&audio_codec_cod3026x
			&audio_codec_dummy
			&audio_codec_cod3026x
			&audio_codec_dummy
			&audio_codec_dummy
			&audio_codec_cod3026x
			&audio_codec_cod3026x
			&audio_codec_cod3026x
			&audio_codec_cod3026x>;

		samsung,auxdev = <&s1402x>;
		status = "okay";
	};

	spi_3: spi@13900000 {
		#address-cells = <1>;
		#size-cells = <0>;
		pinctrl-names = "default", "spi_out", "spi_fn";
		pinctrl-0 = <&spi3_out>;
		pinctrl-1 = <&spi3_out>;
		pinctrl-2 = <&spi3_fn>;
		samsung,spi-fifosize = <64>;
		status = "okay";

		num-cs = <1>;

		fimc_is_spi_0@0 {
			compatible = "samsung,fimc_is_spi0";
			spi-max-frequency = <50000000>;
			reg = <0x0>;
			pinctrl-names = "ssn_out", "ssn_fn";
			pinctrl-0 = <&spi3_cs_0>;
			pinctrl-1 = <&spi3_cs_0_fn>;

			use_spi_pinctrl; /* define if camera use spi */

			controller-data {
				cs-gpio = <&gpf3 1 0>;
				samsung,spi-feedback-delay = <1>;
			};
		};
	};

	spi_4: spi@13910000 {
		#address-cells = <1>;
		#size-cells = <0>;
		pinctrl-names = "default", "spi_out", "spi_fn";
		pinctrl-0 = <&spi4_out>;
		pinctrl-1 = <&spi4_out>;
		pinctrl-2 = <&spi4_fn>;
		samsung,spi-fifosize = <64>;
		status = "okay";

		num-cs = <1>;

		fimc_is_spi_0@0 {
			compatible = "samsung,fimc_is_spi1";
			spi-max-frequency = <50000000>;
			reg = <0x0>;
			pinctrl-names = "ssn_out", "ssn_fn";
			pinctrl-0 = <&spi4_cs_0>;
			pinctrl-1 = <&spi4_cs_0_fn>;

			use_spi_pinctrl; /* define if camera use spi */

			controller-data {
				cs-gpio = <&gpf4 1 0>;
				samsung,spi-feedback-delay = <1>;
			};
		};
	};

	/* preprocessor driver */
	fimc_is_preprocessor: fimc_is_preprocessor@14420000 {
		compatible = "samsung,exynos5-fimc-is-preprocessor";
		samsung,power-domain = <&pd_isp>;

		clock-names = "hsi2c_frontcam",
			"hsi2c_maincam",
			"hsi2c_depthcam",
			"hsi2c_frontsensor",
			"hsi2c_rearaf",
			"hsi2c_rearsensor",

			"spi_rearfrom",
			"spi_frontfrom",

			"sclk_spi_frontfrom",
			"sclk_spi_rearfrom",

			"isp_sensor0_sclk",
			"isp_sensor1_sclk",
			"isp_sensor2_sclk";

		clocks = <&clock 130>,
		       <&clock 131>,
		       <&clock 132>,
		       <&clock 133>,
		       <&clock 134>,
		       <&clock 135>,

		       <&clock 193>,
		       <&clock 194>,

		       <&clock 630>,
		       <&clock 631>,

		       <&clock 640>,
		       <&clock 641>,
		       <&clock 642>;

		scenario = <0>;	/* Normal, Vision, OIS etc */
		id = <0>; /* bns_id */
		mclk_ch = <2>;
		pinctrl_name = "139B0000.pinctrl";
		int_pin_name = "gpa1-2";
		status = "okay";
	};

	fimc_is_device_companion0@ {
		compatible = "samsung,exynos5-fimc-is-device-companion0";
		id = <0>;
		position = <0>;
	};

	fimc_is_device_companion1@ {
		compatible = "samsung,exynos5-fimc-is-device-companion1";
		id = <0>;
		position = <1>;
	};

	fimc_is_sensor_2p2: fimc-is_sensor_2p2@5A {
		compatible = "samsung,sensor-module-2p2";

		pinctrl-names = "pin0", "pin1", "pin2";
		pinctrl-0 = <>;
		pinctrl-1 = <&fimc_is_flash_host &fimc_is_mclk0_in &fimc_is_mclk2_in>;
		pinctrl-2 = <&fimc_is_flash_host &fimc_is_mclk0_fn &fimc_is_mclk2_fn>;

		position = <0>;	/* rear:0. front:1 */
		id = <0>; /* bns_id */
		mclk_ch = <0>;
		sensor_i2c_ch = <0>; /* i2c 0 */
		sensor_i2c_addr = <0x5A>;

		gpio_mclk = <&gpe0 0 0x1>;
		gpio_reset = <&gpd3 5 0x1>; /* sensor reset */
		gpio_prep_reset = <&gpb0 0 0x1>; /* preprocessor reset */
		status = "okay";

		af {
			product_name = <12>; /* ak7348 */
			i2c_addr = <0x18>;
			i2c_ch = <1>; /* i2c 2 */
		};

		flash {
			product_name = <11>; /* FLASH_GPIO */
			flash_first_gpio = <2>; /* DICO not use first, second gpio value */
			flash_second_gpio = <3>;
		};

		preprocessor {
			product_name = <2>; /* 73c2 */
			spi_channel = <1>;
			i2c_addr = <0x7a>;
			i2c_ch = <0>; /* i2c 0*/
			dma_ch = <2>; /* dma vc2*/
		};
	};

	fimc_is_sensor_4e6: fimc-is_sensor_4e6@6A {
		compatible = "samsung,sensor-module-4e6";

		pinctrl-names = "pin0", "pin1", "pin2";
		pinctrl-0 = <>;
		pinctrl-1 = <&fimc_is_mclk1_in &fimc_is_mclk2_in>;
		pinctrl-2 = <&fimc_is_mclk1_fn &fimc_is_mclk2_fn>;

		position = <1>;	/* Rear:0. Front:1 */
		id = <0>; /* sensor node id */
		mclk_ch = <1>;
		sensor_i2c_ch = <1>;
		sensor_i2c_addr = <0x6A>;

		gpio_mclk = <&gpe0 1 0x1>;
		gpio_reset = <&gpd4 6 0x1>;
		gpio_standby = <&gpa1 5 0x1>;
		gpio_prep_reset = <&gpb0 0 0x1>; /* preprocessor reset */
		status = "okay";

		preprocessor {
			product_name = <2>; /* 73c2 */
			spi_channel = <1>;
			i2c_addr = <0x7a>;
			i2c_ch = <0>; /* i2c 0*/
			dma_ch = <2>; /* dma vc2*/
		};


	};

	fimc_is_flash_gpio: fimc-is-flash_gpio@0 {
		compatible = "samsung,sensor-flash-gpio";
		id = <0>; /* matching sensor id */
		status = "okay";

		flash-gpio = <&gpd3 2 0>;
		torch-gpio = <&gpd3 3 0>;
	};

	#define SENSOR_SCENARIO_NORMAL		0
	#define SENSOR_SCENARIO_VISION		1
	#define SENSOR_SCENARIO_EXTERNAL	2
	#define SENSOR_SCENARIO_OIS_FACTORY	3
	#define SENSOR_SCENARIO_VIRTUAL		9
	#define FLITE_ID_NOTHING 100

	fimc_is_sensor0: fimc_is_sensor@14420000 {
		scenario = <SENSOR_SCENARIO_NORMAL>;	/* Normal, Vision, OIS etc */
		id = <0>;
		csi_ch = <0>;
		flite_ch = <0>;
		is_bns = <1>;
		status = "okay";
	};

	fimc_is_sensor1: fimc_is_sensor@14460000 {
		scenario = <SENSOR_SCENARIO_NORMAL>;	/* Normal, Vision, OIS etc */
		id = <1>;
		csi_ch = <1>;
		flite_ch = <0>;
		is_bns = <1>;
		status = "okay";
	};

	fimc_is@14370000 {
		pinctrl-names = "default", "release";
		pinctrl-0 = <&fimc_is_flash_host &fimc_is_mclk0_out &fimc_is_mclk1_out &fimc_is_mclk2_out>;
		pinctrl-1 = <>;

		vender {
			rear_sensor_id = <10>;			/* SENSOR_NAME_S5K2P2 */
			front_sensor_id = <21>;			/* SENSOR_NAME_S5K4E6 */
			use_module_check;
			check_sensor_vendor;
			skip_cal_loading;

			total_camera_num = <2>;
			camera_info0 {				// 0 : rear
				isp = <0>;			/* 0 : INT , 1 : EXT , 2 : SOC */
				cal_memory = <1>;		/* 0 : N , 1 : FROM , 2 : EEPROM , 3 : OTP  */
				read_version = <0>;		/* 0 : SYSFS , 1 : CAMON */
				core_voltage = <0>;		/* 0 : N , 1 : Y  */
				upgrade = <0>;			/* 0 : N , 1 : SYSFS , 2 : CAMON */
				companion = <0>;		/* 0 : N , 1 : Y  */
				ois = <0>;			/* 0 : N , 1 : Y  */
			};
			camera_info1 {				// 1 : front
				isp = <0>;			/* 0 : INT , 1 : EXT , 2 : SOC */
				cal_memory = <2>;		/* 0 : N , 1 : FROM , 2 : EEPROM , 3 : OTP  */
				read_version = <0>;		/* 0 : SYSFS , 1 : CAMON */
				core_voltage = <0>;		/* 0 : N , 1 : Y  */
				upgrade = <0>;			/* 0 : N , 1 : SYSFS , 2 : CAMON */
				companion = <0>;		/* 0 : N , 1 : Y  */
				ois = <0>;			/* 0 : N , 1 : Y  */
			};
		};

		fimc_is_dvfs {
			#define DVFS_INT_L0 534000
			#define DVFS_INT_L1 400000
			#define DVFS_INT_L2 267000
			#define DVFS_INT_L3 134000

			#define DVFS_CAM_L0 555000
			#define DVFS_CAM_L1 540000
			#define DVFS_CAM_L2 530000
			#define DVFS_CAM_L3 520000
			#define DVFS_CAM_L4 510000
			#define DVFS_CAM_L5 400000
			#define DVFS_CAM_L6 200000

			#define DVFS_MIF_L0 1794000
			#define DVFS_MIF_L1 1716000
			#define DVFS_MIF_L2 1539000
			#define DVFS_MIF_L3 1352000
			#define DVFS_MIF_L4 1144000
			#define DVFS_MIF_L5 1014000
			#define DVFS_MIF_L6 845000
			#define DVFS_MIF_L7 676000
			#define DVFS_MIF_L8 546000
			#define DVFS_MIF_L9 421000
			#define DVFS_MIF_L10 286000

			table0 {
				desc = "default Max version";

				default_int = <0>;
				default_cam = <DVFS_CAM_L0>;
				default_mif = <DVFS_MIF_L0>;
				default_i2c = <0>;

				front_preview_int = <0>;
				front_preview_cam = <DVFS_CAM_L6>;
				front_preview_mif = <DVFS_MIF_L6>;
				front_preview_i2c = <0>;

				front_capture_int = <0>;
				front_capture_cam = <DVFS_CAM_L3>;
				front_capture_mif = <DVFS_MIF_L2>;
				front_capture_i2c = <0>;

				front_video_int = <0>;
				front_video_cam = <DVFS_CAM_L6>;
				front_video_mif = <DVFS_MIF_L6>;
				front_video_i2c = <0>;

				front_video_whd_int = <0>;
				front_video_whd_cam = <DVFS_CAM_L6>;
				front_video_whd_mif = <DVFS_MIF_L6>;
				front_video_whd_i2c = <0>;

				front_video_capture_int = <0>;
				front_video_capture_cam = <DVFS_CAM_L3>;
				front_video_capture_mif = <DVFS_MIF_L6>;
				front_video_capture_i2c = <0>;

				front_video_whd_capture_int = <0>;
				front_video_whd_capture_cam = <DVFS_CAM_L3>;
				front_video_whd_capture_mif = <DVFS_MIF_L6>;
				front_video_whd_capture_i2c = <0>;

				front_vt1_int = <0>;
				front_vt1_cam = <DVFS_CAM_L6>;
				front_vt1_mif = <DVFS_MIF_L6>;
				front_vt1_i2c = <0>;

				front_vt2_int = <0>;
				front_vt2_cam = <DVFS_CAM_L6>;
				front_vt2_mif = <DVFS_MIF_L6>;
				front_vt2_i2c = <0>;

				front_companion_preview_int = <0>;
				front_companion_preview_cam = <DVFS_CAM_L5>;
				front_companion_preview_mif = <DVFS_MIF_L0>;
				front_companion_preview_i2c = <0>;

				front_companion_capture_int = <0>;
				front_companion_capture_cam = <DVFS_CAM_L2>;
				front_companion_capture_mif = <DVFS_MIF_L0>;
				front_companion_capture_i2c = <0>;

				front_companion_video_int = <0>;
				front_companion_video_cam = <DVFS_CAM_L5>;
				front_companion_video_mif = <DVFS_MIF_L0>;
				front_companion_video_i2c = <0>;

				front_companion_video_whd_int = <0>;
				front_companion_video_whd_cam = <DVFS_CAM_L5>;
				front_companion_video_whd_mif = <DVFS_MIF_L0>;
				front_companion_video_whd_i2c = <0>;

				front_companion_video_capture_int = <0>;
				front_companion_video_capture_cam = <DVFS_CAM_L2>;
				front_companion_video_capture_mif = <DVFS_MIF_L0>;
				front_companion_video_capture_i2c = <0>;

				front_companion_video_whd_capture_int = <0>;
				front_companion_video_whd_capture_cam = <DVFS_CAM_L2>;
				front_companion_video_whd_capture_mif = <DVFS_MIF_L0>;
				front_companion_video_whd_capture_i2c = <0>;

				rear_preview_fhd_int = <0>;
				rear_preview_fhd_cam = <DVFS_CAM_L5>;
				rear_preview_fhd_mif = <DVFS_MIF_L6>;
				rear_preview_fhd_i2c = <0>;

				rear_preview_whd_int = <0>;
				rear_preview_whd_cam = <DVFS_CAM_L5>;
				rear_preview_whd_mif = <DVFS_MIF_L6>;
				rear_preview_whd_i2c = <0>;

				rear_preview_uhd_int = <0>;
				rear_preview_uhd_cam = <DVFS_CAM_L2>;
				rear_preview_uhd_mif = <DVFS_MIF_L3>;
				rear_preview_uhd_i2c = <0>;

				rear_capture_int = <0>;
				rear_capture_cam = <DVFS_CAM_L2>;
				rear_capture_mif = <DVFS_MIF_L2>;
				rear_capture_i2c = <0>;

				rear_video_fhd_int = <0>;
				rear_video_fhd_cam = <DVFS_CAM_L5>;
				rear_video_fhd_mif = <DVFS_MIF_L6>;
				rear_video_fhd_i2c = <0>;

				rear_video_whd_int = <0>;
				rear_video_whd_cam = <DVFS_CAM_L5>;
				rear_video_whd_mif = <DVFS_MIF_L3>;
				rear_video_whd_i2c = <0>;

				rear_video_uhd_int = <0>;
				rear_video_uhd_cam = <DVFS_CAM_L2>;
				rear_video_uhd_mif = <DVFS_MIF_L3>;
				rear_video_uhd_i2c = <0>;

				rear_video_fhd_capture_int = <0>;
				rear_video_fhd_capture_cam = <DVFS_CAM_L2>;
				rear_video_fhd_capture_mif = <DVFS_MIF_L6>;
				rear_video_fhd_capture_i2c = <0>;

				rear_video_whd_capture_int = <0>;
				rear_video_whd_capture_cam = <DVFS_CAM_L2>;
				rear_video_whd_capture_mif = <DVFS_MIF_L3>;
				rear_video_whd_capture_i2c = <0>;

				rear_video_uhd_capture_int = <0>;
				rear_video_uhd_capture_cam = <DVFS_CAM_L2>;
				rear_video_uhd_capture_mif = <DVFS_MIF_L3>;
				rear_video_uhd_capture_i2c = <0>;

				dual_preview_int = <0>;
				dual_preview_cam = <DVFS_CAM_L4>;
				dual_preview_mif = <DVFS_MIF_L0>;
				dual_preview_i2c = <0>;

				dual_capture_int = <0>;
				dual_capture_cam = <DVFS_CAM_L1>;
				dual_capture_mif = <DVFS_MIF_L0>;
				dual_capture_i2c = <0>;

				dual_video_int = <0>;
				dual_video_cam = <DVFS_CAM_L4>;
				dual_video_mif = <DVFS_MIF_L0>;
				dual_video_i2c = <0>;

				dual_video_capture_int = <0>;
				dual_video_capture_cam = <DVFS_CAM_L1>;
				dual_video_capture_mif = <DVFS_MIF_L0>;
				dual_video_capture_i2c = <0>;

				preview_high_speed_fps_int = <0>;
				preview_high_speed_fps_cam = <DVFS_CAM_L5>;
				preview_high_speed_fps_mif = <DVFS_MIF_L0>;
				preview_high_speed_fps_i2c = <0>;

				video_high_speed_60fps_int = <0>;
				video_high_speed_60fps_cam = <DVFS_CAM_L5>;
				video_high_speed_60fps_mif = <DVFS_MIF_L5>;
				video_high_speed_60fps_i2c = <0>;

				video_high_speed_120fps_int = <0>;
				video_high_speed_120fps_cam = <DVFS_CAM_L5>;
				video_high_speed_120fps_mif = <DVFS_MIF_L5>;
				video_high_speed_120fps_i2c = <0>;

				video_high_speed_240fps_int = <0>;
				video_high_speed_240fps_cam = <DVFS_CAM_L0>;
				video_high_speed_240fps_mif = <DVFS_MIF_L0>;
				video_high_speed_240fps_i2c = <0>;

				max_int = <0>;
				max_cam = <DVFS_CAM_L0>;
				max_mif = <DVFS_MIF_L0>;
				max_i2c = <0>;
			};

			table1 {
				desc = "HAL3 version";

				default_int = <0>;
				default_cam = <DVFS_CAM_L5>;
				default_mif = <DVFS_MIF_L0>;
				default_i2c = <0>;

				front_preview_int = <0>;
				front_preview_cam = <DVFS_CAM_L6>;
				front_preview_mif = <DVFS_MIF_L2>;
				front_preview_i2c = <0>;

				front_capture_int = <0>;
				front_capture_cam = <DVFS_CAM_L3>;
				front_capture_mif = <DVFS_MIF_L0>;
				front_capture_i2c = <0>;

				front_video_int = <0>;
				front_video_cam = <DVFS_CAM_L6>;
				front_video_mif = <DVFS_MIF_L2>;
				front_video_i2c = <0>;

				front_video_whd_int = <0>;
				front_video_whd_cam = <DVFS_CAM_L6>;
				front_video_whd_mif = <DVFS_MIF_L2>;
				front_video_whd_i2c = <0>;

				front_video_capture_int = <0>;
				front_video_capture_cam = <DVFS_CAM_L3>;
				front_video_capture_mif = <DVFS_MIF_L2>;
				front_video_capture_i2c = <0>;

				front_video_whd_capture_int = <0>;
				front_video_whd_capture_cam = <DVFS_CAM_L3>;
				front_video_whd_capture_mif = <DVFS_MIF_L2>;
				front_video_whd_capture_i2c = <0>;

				front_vt1_int = <0>;
				front_vt1_cam = <DVFS_CAM_L6>;
				front_vt1_mif = <DVFS_MIF_L2>;
				front_vt1_i2c = <0>;

				front_vt2_int = <0>;
				front_vt2_cam = <DVFS_CAM_L6>;
				front_vt2_mif = <DVFS_MIF_L2>;
				front_vt2_i2c = <0>;

				front_companion_preview_int = <0>;
				front_companion_preview_cam = <DVFS_CAM_L5>;
				front_companion_preview_mif = <DVFS_MIF_L0>;
				front_companion_preview_i2c = <0>;

				front_companion_capture_int = <0>;
				front_companion_capture_cam = <DVFS_CAM_L2>;
				front_companion_capture_mif = <DVFS_MIF_L0>;
				front_companion_capture_i2c = <0>;

				front_companion_video_int = <0>;
				front_companion_video_cam = <DVFS_CAM_L5>;
				front_companion_video_mif = <DVFS_MIF_L0>;
				front_companion_video_i2c = <0>;

				front_companion_video_whd_int = <0>;
				front_companion_video_whd_cam = <DVFS_CAM_L5>;
				front_companion_video_whd_mif = <DVFS_MIF_L0>;
				front_companion_video_whd_i2c = <0>;

				front_companion_video_capture_int = <0>;
				front_companion_video_capture_cam = <DVFS_CAM_L2>;
				front_companion_video_capture_mif = <DVFS_MIF_L0>;
				front_companion_video_capture_i2c = <0>;

				front_companion_video_whd_capture_int = <0>;
				front_companion_video_whd_capture_cam = <DVFS_CAM_L2>;
				front_companion_video_whd_capture_mif = <DVFS_MIF_L0>;
				front_companion_video_whd_capture_i2c = <0>;

				rear_preview_fhd_int = <0>;
				rear_preview_fhd_cam = <DVFS_CAM_L5>;
				rear_preview_fhd_mif = <DVFS_MIF_L2>;
				rear_preview_fhd_i2c = <0>;

				rear_preview_whd_int = <0>;
				rear_preview_whd_cam = <DVFS_CAM_L5>;
				rear_preview_whd_mif = <DVFS_MIF_L2>;
				rear_preview_whd_i2c = <0>;

				rear_preview_uhd_int = <0>;
				rear_preview_uhd_cam = <DVFS_CAM_L2>;
				rear_preview_uhd_mif = <DVFS_MIF_L2>;
				rear_preview_uhd_i2c = <0>;

				rear_capture_int = <0>;
				rear_capture_cam = <DVFS_CAM_L2>;
				rear_capture_mif = <DVFS_MIF_L0>;
				rear_capture_i2c = <0>;

				rear_video_fhd_int = <0>;
				rear_video_fhd_cam = <DVFS_CAM_L5>;
				rear_video_fhd_mif = <DVFS_MIF_L2>;
				rear_video_fhd_i2c = <0>;

				rear_video_whd_int = <0>;
				rear_video_whd_cam = <DVFS_CAM_L5>;
				rear_video_whd_mif = <DVFS_MIF_L2>;
				rear_video_whd_i2c = <0>;

				rear_video_uhd_int = <0>;
				rear_video_uhd_cam = <DVFS_CAM_L2>;
				rear_video_uhd_mif = <DVFS_MIF_L2>;
				rear_video_uhd_i2c = <0>;

				rear_video_fhd_capture_int = <0>;
				rear_video_fhd_capture_cam = <DVFS_CAM_L2>;
				rear_video_fhd_capture_mif = <DVFS_MIF_L2>;
				rear_video_fhd_capture_i2c = <0>;

				rear_video_whd_capture_int = <0>;
				rear_video_whd_capture_cam = <DVFS_CAM_L2>;
				rear_video_whd_capture_mif = <DVFS_MIF_L2>;
				rear_video_whd_capture_i2c = <0>;

				rear_video_uhd_capture_int = <0>;
				rear_video_uhd_capture_cam = <DVFS_CAM_L2>;
				rear_video_uhd_capture_mif = <DVFS_MIF_L2>;
				rear_video_uhd_capture_i2c = <0>;

				dual_preview_int = <0>;
				dual_preview_cam = <DVFS_CAM_L4>;
				dual_preview_mif = <DVFS_MIF_L0>;
				dual_preview_i2c = <0>;

				dual_capture_int = <0>;
				dual_capture_cam = <DVFS_CAM_L1>;
				dual_capture_mif = <DVFS_MIF_L0>;
				dual_capture_i2c = <0>;

				dual_video_int = <0>;
				dual_video_cam = <DVFS_CAM_L4>;
				dual_video_mif = <DVFS_MIF_L0>;
				dual_video_i2c = <0>;

				dual_video_capture_int = <0>;
				dual_video_capture_cam = <DVFS_CAM_L1>;
				dual_video_capture_mif = <DVFS_MIF_L0>;
				dual_video_capture_i2c = <0>;

				preview_high_speed_fps_int = <0>;
				preview_high_speed_fps_cam = <DVFS_CAM_L5>;
				preview_high_speed_fps_mif = <DVFS_MIF_L0>;
				preview_high_speed_fps_i2c = <0>;

				video_high_speed_60fps_int = <0>;
				video_high_speed_60fps_cam = <DVFS_CAM_L5>;
				video_high_speed_60fps_mif = <DVFS_MIF_L2>;
				video_high_speed_60fps_i2c = <0>;

				video_high_speed_120fps_int = <0>;
				video_high_speed_120fps_cam = <DVFS_CAM_L5>;
				video_high_speed_120fps_mif = <DVFS_MIF_L2>;
				video_high_speed_120fps_i2c = <0>;

				video_high_speed_240fps_int = <0>;
				video_high_speed_240fps_cam = <DVFS_CAM_L1>;
				video_high_speed_240fps_mif = <DVFS_MIF_L2>;
				video_high_speed_240fps_i2c = <0>;

				max_int = <0>;
				max_cam = <DVFS_CAM_L0>;
				max_mif = <DVFS_MIF_L0>;
				max_i2c = <0>;
			};
		};
	};

	exynos_pm_dvs {
		compatible = "samsung,exynos-pm-dvs";
		vdd_buck4 {
			regulator_name = "BUCK4";
			suspend_volt = <1237500>;
			init_volt = <1350000>;
			volt_range_step = <12500>;
		};

		vdd_buck5 {
			regulator_name = "BUCK5";
			suspend_volt = <1850000>;
			init_volt = <2000000>;
			volt_range_step = <12500>;
		};
	};
	
	/* VIBRATOR */
	sec_vib {
		compatible = "sec_vib";
		sec_vib_pdata {
			status = "okay";
			sec_vib,max_timeout = <10000>;
			sec_vib,regulator = "VDD_MOTOR_3P0";
		};
	};

	sec_thermistor@0 {
		compatible = "samsung,sec-ap-thermistor";
		status = "okay";

		adc_array = <289 301 313 324 336 348 360 372 383 395
				407 423 438 454 470 486 501 517 533 548
				564 586 607 629 651 673 694 716 738 759
				781 805 828 852 875 899 930 961 992 1023
				1054 1087 1120 1154 1187 1220 1255 1289 1324 1358
				1393 1433 1472 1512 1551 1591 1631 1670 1710 1749
				1789 1832 1875 1918 1961 2004 2047 2090 2133 2176
				2219 2264 2309 2355 2400 2445 2490 2535 2581 2626
				2671 2708 2745 2782 2819 2856 2892 2929 2966 3003
				3040 3070 3100 3130 3160 3190 3216 3242 3267 3293
				3319 3341 3363 3384 3406 3428 3446 3463 3481 3498 3516>;
		temp_array = <900 890 880 870 860 850 840 830 820 810
					   800 790 780 770 760 750 740 730 720 710
					   700 690 680 670 660 650 640 630 620 610
					   600 590 580 570 560 550 540 530 520 510
					   500 490 480 470 460 450 440 430 420 410
					   400 390 380 370 360 350 340 330 320 310
					   300 290 280 270 260 250 240 230 220 210
					   200 190 180 170 160 150 140 130 120 110
					   100 90 80 70 60 50 40 30 20 10
					   0 (-10) (-20) (-30) (-40) (-50) (-60) (-70) (-80) (-90)
					   (-100) (-110) (-120) (-130) (-140) (-150) (-160) (-170) (-180) (-190) (-200)>;
		io-channels = <&exynos_adc 0>;
		io-channel-names = "adc-ap-temp";
		io-channel-ranges;
	};

	argos {
		compatible = "samsung,argos";
		#address-cells = <1>;
		/*  The device number should be assigned for each device, e.g. "boot_device@1" and "boot_device@2".
		    Duplicated number is not allowed. Please refer the below example. */

		/* Table Format should be
		 * <Throughput(Mbps) ARM_min ARM_max KFC_min KFC_max MIF INT Task IRQ>
		 * ARM_min : Big Core's minimum frequency lock. 0 means not set,
		 * ARM_max : Big Core's maximum frequency lock. 0 means not set,
		 * KFC_min : Little Core's minimum frequency lock. 0 means not set,
		 * KFC_max : Little Core's maximum frequency lock. 0 means not set,
		 * MIF : MIF frequency lock. 0 means not set,
		 * INT : INT frequency lock. 0 means not set,
		 * Task : 1 - Set task affinity lock.
		 *        0 - Not set or unlock,
		 *              Task affinity should be predefined driver's code.
		 * IRQ : 1 - Set irq affinity lock.
		 *       0 - Not set or unlock,
		 *              Task affinity should be predefined driver's code.
		 */

		boot_device@1 {
			net_boost,label="IPC";
			net_boost,node="rmnet0 rmnet1 rmnet2 rmnet3 rmnet4 rmnet5 rmnet6 rmnet7 umts_dm0";
			net_boost,table_size = <4>;
			net_boost,table= <  1 0 0 0 0 0 0 0 1
					   20 0 0 800000 0 416000 100000 0 1
					   50 0 0 1000000 0 825000 100000 0 1
					  100 0 0 1400000 0 825000 100000 0 1>;
		};

		boot_device@2 {
			net_boost,label="USB";
			net_boost,node="rndis0";
			net_boost,table_size = <1>;
			net_boost,table= < 1 0 0 0 0 0 0 0 1 >;
		};

		/*
		boot_device@3 {
			net_boost,label="P2P";
			net_boost,node="p2p-wlan0-0";
			net_boost,table_size = <3>;
			net_boost,table= <
				30 1200000 0 1200000 0 200000 0 0 0
				50 1500000 0 1500000 0 416000 100000 0 0
				90 1600000 0 1600000 0 825000 100000 1 1
				>;
		};
		boot_device@4 {
			net_boost,label="WIFI";
			net_boost,node="wlan0";
			net_boost,table_size = <3>;
			net_boost,table= <
				10 1000000 0 1000000 0 200000 0 0 0
				60 1600000 0 1600000 0 825000 100000 1 1
				120 1600000 0 1600000 0 825000 100000 1 1
				>;
		 };
		boot_device@5 {
			net_boost,label="CLAT";
			net_boost,node="clat clat4 v4-rmnet0 v4-rmnet1 v4-rmnet2 v4-rmnet3 v4-rmnet4 v4-rmnet5 v4-rmnet6 v4-rmnet7";
			net_boost,table_size = <3>;
			net_boost,table= <120 1400000 0 0 0 825000 0 0 0
				130 1500000 0 0 0 825000 0 0 0
				150 1600000 0 0 0 825000 0 0 0>;
		};
		*/
	};
};
